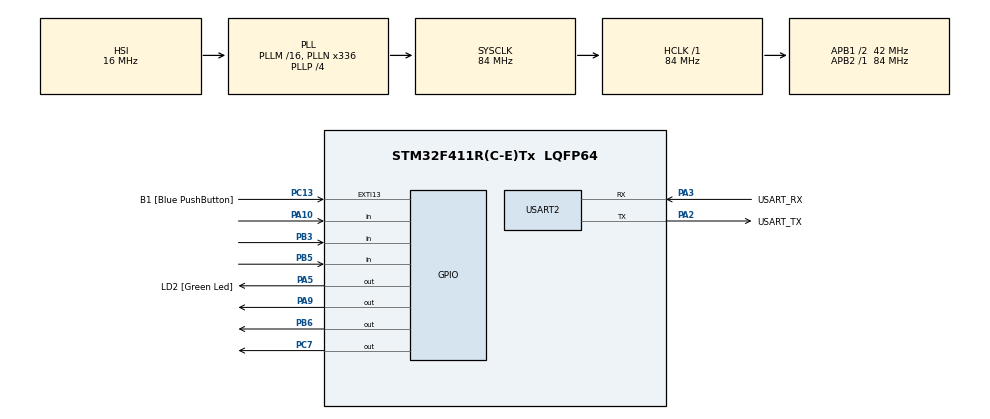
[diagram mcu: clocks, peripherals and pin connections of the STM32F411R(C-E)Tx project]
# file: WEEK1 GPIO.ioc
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Mcu.Family=STM32F4
Mcu.Name=STM32F411R(C-E)Tx
Mcu.Package=LQFP64
NVIC.PriorityGroup=NVIC_PRIORITYGROUP_0
PA10.Signal=GPIO_Input
PA13.GPIO_Label=TMS
PA13.Mode=Serial_Wire
PA13.Signal=SYS_JTMS-SWDIO
PA14.GPIO_Label=TCK
PA14.Mode=Serial_Wire
PA14.Signal=SYS_JTCK-SWCLK
PA2.GPIO_Label=USART_TX
PA2.Mode=Asynchronous
PA2.Signal=USART2_TX
PA3.GPIO_Label=USART_RX
PA3.Mode=Asynchronous
PA3.Signal=USART2_RX
PA5.GPIO_Label=LD2 [Green Led]
PA5.Signal=GPIO_Output
PA9.Signal=GPIO_Output
PB3.Signal=GPIO_Input
PB5.Signal=GPIO_Input
PB6.Signal=GPIO_Output
PC13-ANTI_TAMP.GPIO_Label=B1 [Blue PushButton]
PC13-ANTI_TAMP.GPIO_ModeDefaultEXTI=GPIO_MODE_IT_FALLING
PC13-ANTI_TAMP.Signal=GPXTI13
PC14-OSC32_IN.Mode=LSE-External-Oscillator
PC14-OSC32_IN.Signal=RCC_OSC32_IN
PC15-OSC32_OUT.Mode=LSE-External-Oscillator
PC15-OSC32_OUT.Signal=RCC_OSC32_OUT
PC7.Signal=GPIO_Output
PH0\ -\ OSC_IN.Mode=HSE-External-Clock-Source
PH0\ -\ OSC_IN.Signal=RCC_OSC_IN
PH1\ -\ OSC_OUT.Mode=HSE-External-Clock-Source
PH1\ -\ OSC_OUT.Signal=RCC_OSC_OUT
ProjectManager.HeapSize=0x200
ProjectManager.StackSize=0x400
ProjectManager.TargetToolchain=STM32CubeIDE
RCC.48MHZClocksFreq_Value=84000000
RCC.AHBFreq_Value=84000000
RCC.APB1CLKDivider=RCC_HCLK_DIV2
RCC.APB1Freq_Value=42000000
RCC.APB1TimFreq_Value=84000000
RCC.APB2Freq_Value=84000000
RCC.APB2TimFreq_Value=84000000
RCC.CortexFreq_Value=84000000
RCC.FLatency-AdvancedSettings=FLASH_LATENCY_2
RCC.HCLKFreq_Value=84000000
RCC.HSE_VALUE=8000000
RCC.HSI_VALUE=16000000
RCC.PLLN=336
RCC.PLLP=RCC_PLLP_DIV4
RCC.SYSCLKFreq_VALUE=84000000
RCC.SYSCLKSource=RCC_SYSCLKSOURCE_PLLCLK
RCC.VCOOutputFreq_Value=336000000
USART2.VirtualMode=VM_ASYNC
board=NUCLEO-F411RE

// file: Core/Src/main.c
/* USER CODE BEGIN Header */
/**
 ******************************************************************************
 * @file           : main.c
 * @brief          : Main program body
 ******************************************************************************
 * @attention
 *
 * <h2><center>&copy; Copyright (c) 2021 STMicroelectronics.
 * All rights reserved.</center></h2>
 *
 * This software component is licensed by ST under BSD 3-Clause license,
 * the "License"; You may not use this file except in compliance with the
 * License. You may obtain a copy of the License at:
 *                        opensource.org/licenses/BSD-3-Clause
 *
 ******************************************************************************
 */
/* USER CODE END Header */
#include "main.h"

UART_HandleTypeDef huart2;

void SystemClock_Config(void);
static void MX_GPIO_Init(void);
static void MX_USART2_UART_Init(void);

int main(void) {

	/* MCU Configuration--------------------------------------------------------*/

	/* Reset of all peripherals, Initializes the Flash interface and the Systick. */
	HAL_Init();

	/* Configure the system clock */
	SystemClock_Config();

	/* Initialize all configured peripherals */
	MX_GPIO_Init();
	MX_USART2_UART_Init();
	/* USER CODE BEGIN 2 */
	GPIO_PinState SwitchState[2]; //Now,Last
	GPIO_PinState SwitchState2[2];
	GPIO_PinState SwitchState3[2];
	uint16_t LED1_HalfPeriod = 1000; //1Hz
	uint16_t LED3_QuadPeriod = 500;
	uint32_t TimeStamp = 0;
	uint32_t TimeStamp11 = 0;
	uint32_t LED3_ThreeQuadPeriod = 1500;
	uint32_t ButtonTimeStamp = 0;
	uint8_t a = 0;
	uint8_t b = 0;
	uint8_t d = 0;
	/* USER CODE END 2 */

	/* Infinite loop */
	while (1) {

		/* USER CODE BEGIN 3 */
		//switch press is LOW
		if (HAL_GetTick() - ButtonTimeStamp >= 50) //ms
				{
			ButtonTimeStamp = HAL_GetTick();
			SwitchState[0] = HAL_GPIO_ReadPin(GPIOA, GPIO_PIN_10);
			if (SwitchState[1] == GPIO_PIN_SET
					&& SwitchState[0] == GPIO_PIN_RESET) {
				//Change Half Period of LED1
				if (LED1_HalfPeriod == 1000) {
					a = 1;
					LED1_HalfPeriod = 500;

				} else if (a == 1) {
					LED1_HalfPeriod = 250;
					a = 2;
				} else if (a == 2) {
					LED1_HalfPeriod = 166.67;
					a = 3;
				} else {
					LED1_HalfPeriod = 1000;
					a = 0;
				}
			}

			SwitchState[1] = SwitchState[0];
			SwitchState2[0] = HAL_GPIO_ReadPin(GPIOB, GPIO_PIN_3);
			if (SwitchState2[1] == GPIO_PIN_SET
					&& SwitchState2[0] == GPIO_PIN_RESET) {
				b = !b;
				HAL_GPIO_WritePin(GPIOC, GPIO_PIN_7, b);

			}
			SwitchState2[1] = SwitchState2[0];
			SwitchState3[0] = HAL_GPIO_ReadPin(GPIOB, GPIO_PIN_5);
			if (SwitchState3[1] == GPIO_PIN_SET
					&& SwitchState3[0] == GPIO_PIN_RESET) {
				if (d == 0) {
					d = 1;
				} else {
					d = 0;
				}
			}
			SwitchState3[1] = SwitchState3[0];
		}

		if (HAL_GetTick() - TimeStamp >= LED1_HalfPeriod) {
			TimeStamp = HAL_GetTick();
			//Toggle LED1
			if (HAL_GPIO_ReadPin(GPIOA, GPIO_PIN_9) == GPIO_PIN_SET) {
				HAL_GPIO_WritePin(GPIOA, GPIO_PIN_9, GPIO_PIN_RESET);
			} else {
				HAL_GPIO_WritePin(GPIOA, GPIO_PIN_9, GPIO_PIN_SET);
			}

			if (d == 0) {
				if ((HAL_GetTick() - TimeStamp11 >= LED3_QuadPeriod)
						&& (HAL_GPIO_ReadPin(GPIOB, GPIO_PIN_6)
								== GPIO_PIN_RESET)) {
					TimeStamp11 = HAL_GetTick();
					//Toggle LED1
					HAL_GPIO_WritePin(GPIOB, GPIO_PIN_6, GPIO_PIN_SET);

				}

				if ((HAL_GetTick() - TimeStamp11 >= LED3_ThreeQuadPeriod)
						&& (HAL_GPIO_ReadPin(GPIOB, GPIO_PIN_6) == GPIO_PIN_SET)) {
					TimeStamp11 = HAL_GetTick();
					//Toggle LED1

					HAL_GPIO_WritePin(GPIOB, GPIO_PIN_6, GPIO_PIN_RESET);

				}
			}
		}
		if (d == 1) {

			if ((HAL_GetTick() - TimeStamp11 >= LED3_ThreeQuadPeriod)
					&& (HAL_GPIO_ReadPin(GPIOB, GPIO_PIN_6) == GPIO_PIN_RESET)) {
				TimeStamp11 = HAL_GetTick();
				//Toggle LED1
				HAL_GPIO_WritePin(GPIOB, GPIO_PIN_6, GPIO_PIN_SET);

			}

			if ((HAL_GetTick() - TimeStamp11 >= LED3_QuadPeriod)
					&& (HAL_GPIO_ReadPin(GPIOB, GPIO_PIN_6) == GPIO_PIN_SET)) {
				TimeStamp11 = HAL_GetTick();
				//Toggle LED1

				HAL_GPIO_WritePin(GPIOB, GPIO_PIN_6, GPIO_PIN_RESET);

			}
		}
	}

	//Run LED

	/* USER CODE END 3 */
}

void SystemClock_Config(void) {
	RCC_OscInitTypeDef RCC_OscInitStruct = { 0 };
	RCC_ClkInitTypeDef RCC_ClkInitStruct = { 0 };

	/** Configure the main internal regulator output voltage
	 */
	__HAL_RCC_PWR_CLK_ENABLE();
	__HAL_PWR_VOLTAGESCALING_CONFIG(PWR_REGULATOR_VOLTAGE_SCALE1);
	/** Initializes the RCC Oscillators according to the specified parameters
	 * in the RCC_OscInitTypeDef structure.
	 */
	RCC_OscInitStruct.OscillatorType = RCC_OSCILLATORTYPE_HSI;
	RCC_OscInitStruct.HSIState = RCC_HSI_ON;
	RCC_OscInitStruct.HSICalibrationValue = RCC_HSICALIBRATION_DEFAULT;
	RCC_OscInitStruct.PLL.PLLState = RCC_PLL_ON;
	RCC_OscInitStruct.PLL.PLLSource = RCC_PLLSOURCE_HSI;
	RCC_OscInitStruct.PLL.PLLM = 16;
	RCC_OscInitStruct.PLL.PLLN = 336;
	RCC_OscInitStruct.PLL.PLLP = RCC_PLLP_DIV4;
	RCC_OscInitStruct.PLL.PLLQ = 4;
	if (HAL_RCC_OscConfig(&RCC_OscInitStruct) != HAL_OK) {
		Error_Handler();
	}
	/** Initializes the CPU, AHB and APB buses clocks
	 */
	RCC_ClkInitStruct.ClockType = RCC_CLOCKTYPE_HCLK | RCC_CLOCKTYPE_SYSCLK
			| RCC_CLOCKTYPE_PCLK1 | RCC_CLOCKTYPE_PCLK2;
	RCC_ClkInitStruct.SYSCLKSource = RCC_SYSCLKSOURCE_PLLCLK;
	RCC_ClkInitStruct.AHBCLKDivider = RCC_SYSCLK_DIV1;
	RCC_ClkInitStruct.APB1CLKDivider = RCC_HCLK_DIV2;
	RCC_ClkInitStruct.APB2CLKDivider = RCC_HCLK_DIV1;

	if (HAL_RCC_ClockConfig(&RCC_ClkInitStruct, FLASH_LATENCY_2) != HAL_OK) {
		Error_Handler();
	}
}

static void MX_USART2_UART_Init(void) {

	huart2.Instance = USART2;
	huart2.Init.BaudRate = 115200;
	huart2.Init.WordLength = UART_WORDLENGTH_8B;
	huart2.Init.StopBits = UART_STOPBITS_1;
	huart2.Init.Parity = UART_PARITY_NONE;
	huart2.Init.Mode = UART_MODE_TX_RX;
	huart2.Init.HwFlowCtl = UART_HWCONTROL_NONE;
	huart2.Init.OverSampling = UART_OVERSAMPLING_16;
	if (HAL_UART_Init(&huart2) != HAL_OK) {
		Error_Handler();
	}

}

static void MX_GPIO_Init(void) {
	GPIO_InitTypeDef GPIO_InitStruct = { 0 };

	/* GPIO Ports Clock Enable */
	__HAL_RCC_GPIOC_CLK_ENABLE();
	__HAL_RCC_GPIOH_CLK_ENABLE();
	__HAL_RCC_GPIOA_CLK_ENABLE();
	__HAL_RCC_GPIOB_CLK_ENABLE();

	/*Configure GPIO pin Output Level */
	HAL_GPIO_WritePin(GPIOA, LD2_Pin | GPIO_PIN_9, GPIO_PIN_RESET);

	/*Configure GPIO pin Output Level */
	HAL_GPIO_WritePin(GPIOC, GPIO_PIN_7, GPIO_PIN_RESET);

	/*Configure GPIO pin Output Level */
	HAL_GPIO_WritePin(GPIOB, GPIO_PIN_6, GPIO_PIN_RESET);

	/*Configure GPIO pin : B1_Pin */
	GPIO_InitStruct.Pin = B1_Pin;
	GPIO_InitStruct.Mode = GPIO_MODE_IT_FALLING;
	GPIO_InitStruct.Pull = GPIO_NOPULL;
	HAL_GPIO_Init(B1_GPIO_Port, &GPIO_InitStruct);

	/*Configure GPIO pins : LD2_Pin PA9 */
	GPIO_InitStruct.Pin = LD2_Pin | GPIO_PIN_9;
	GPIO_InitStruct.Mode = GPIO_MODE_OUTPUT_PP;
	GPIO_InitStruct.Pull = GPIO_NOPULL;
	GPIO_InitStruct.Speed = GPIO_SPEED_FREQ_LOW;
	HAL_GPIO_Init(GPIOA, &GPIO_InitStruct);

	/*Configure GPIO pin : PC7 */
	GPIO_InitStruct.Pin = GPIO_PIN_7;
	GPIO_InitStruct.Mode = GPIO_MODE_OUTPUT_PP;
	GPIO_InitStruct.Pull = GPIO_NOPULL;
	GPIO_InitStruct.Speed = GPIO_SPEED_FREQ_LOW;
	HAL_GPIO_Init(GPIOC, &GPIO_InitStruct);

	/*Configure GPIO pin : PA10 */
	GPIO_InitStruct.Pin = GPIO_PIN_10;
	GPIO_InitStruct.Mode = GPIO_MODE_INPUT;
	GPIO_InitStruct.Pull = GPIO_NOPULL;
	HAL_GPIO_Init(GPIOA, &GPIO_InitStruct);

	/*Configure GPIO pins : PB3 PB5 */
	GPIO_InitStruct.Pin = GPIO_PIN_3 | GPIO_PIN_5;
	GPIO_InitStruct.Mode = GPIO_MODE_INPUT;
	GPIO_InitStruct.Pull = GPIO_NOPULL;
	HAL_GPIO_Init(GPIOB, &GPIO_InitStruct);

	/*Configure GPIO pin : PB6 */
	GPIO_InitStruct.Pin = GPIO_PIN_6;
	GPIO_InitStruct.Mode = GPIO_MODE_OUTPUT_PP;
	GPIO_InitStruct.Pull = GPIO_NOPULL;
	GPIO_InitStruct.Speed = GPIO_SPEED_FREQ_LOW;
	HAL_GPIO_Init(GPIOB, &GPIO_InitStruct);

}

void Error_Handler(void) {
	__disable_irq();
	while (1) {
	}
}

/************************ (C) COPYRIGHT STMicroelectronics *****END OF FILE****/
